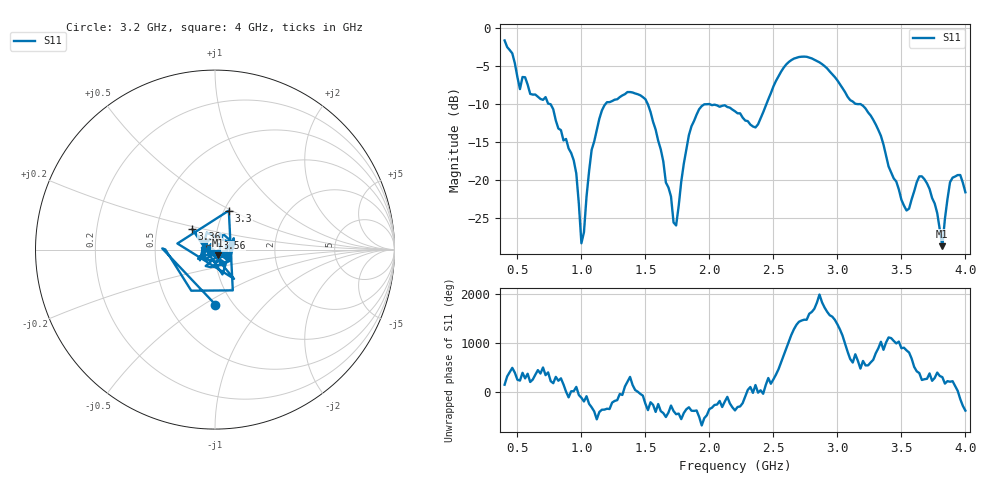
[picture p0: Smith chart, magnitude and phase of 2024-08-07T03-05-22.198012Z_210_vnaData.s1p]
!Created with skrf (http://scikit-rf.org).
# Hz S RI R 50.0
!freq ReS11 ImS11
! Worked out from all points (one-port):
!   181 points, 400 MHz to 4 GHz, reference 50 ohm
!   lowest |S11| = -28.8 dB at 3.82 GHz (marker M1), VSWR 1.08, Z = 51.7 - j3.29 ohm
!   |S11| at or under -10 dB: 744 MHz to 1.19 GHz (446.1 MHz wide, 46.1 % of centre); 1.517 GHz to 2.446 GHz (929.1 MHz wide, 46.9 % of centre); 3.14 GHz to end of sweep
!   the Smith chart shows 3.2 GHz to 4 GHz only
!   S11 on the Smith chart (normalised r, x): 3.2 GHz: 0.83, -0.56; 3.3 GHz: 1.05, +0.48; 3.36 GHz: 0.76, +0.18; 3.56 GHz: 1.01, +0.13; 4 GHz: 1.16, -0.09
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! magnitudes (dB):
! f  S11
! 400 MHz  -1.7
! 520 MHz  -8.1
! 720 MHz  -9.1
! 860 MHz  -14.8
! 960 MHz  -19.2
! 1 GHz  -28.4
! 1.08 GHz  -16.1
! 1.14 GHz  -12.0
! 1.3 GHz  -9.1
! 1.5 GHz  -9.4
! 1.62 GHz  -16.0
! 1.72 GHz  -25.6
! 1.76 GHz  -23.5
! 1.84 GHz  -14.1
! 1.92 GHz  -10.7
! 2.2 GHz  -11.0
! 2.36 GHz  -13.1
! 2.66 GHz  -4.1
! 3.1 GHz  -9.5
! 3.2 GHz  -10.3
! 3.3 GHz  -12.7
! 3.36 GHz  -15.4
! 3.56 GHz  -23.8
! 3.66 GHz  -19.6
! 3.76 GHz  -23.1
! 3.82 GHz  -28.8
! 3.88 GHz  -20.3
! 4 GHz  -21.7
